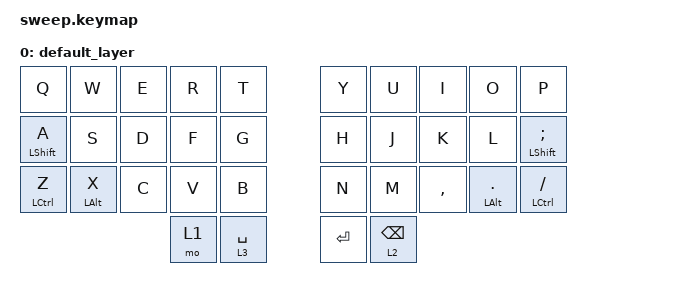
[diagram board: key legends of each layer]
/*
 * Copyright (c) 2020 The ZMK Contributors
 *
 * SPDX-License-Identifier: MIT
 */

#include <dt-bindings/zmk/mouse.h>
#include <behaviors.dtsi>
#include <dt-bindings/zmk/bt.h>
#include <dt-bindings/zmk/keys.h>

&mt {
    flavor = "tap-preferred";
    quick-tap-ms = <135>;
    tapping-term-ms = <150>;
};

/ {
    keymap {
        compatible = "zmk,keymap";

        default_layer {
            // -----------------------------------------------------------------------------------------
            // |  TAB |  Q  |  W  |  E  |  R  |  T  |   |  Y  |  U   |  I  |  O  |  P  | BKSP |
            // | SHFT |  A  |  S  |  D  |  F  |  G  |   |  H  |  J   |  K  |  L  |  ;  |  '   |
            // | CTRL |  Z  |  X  |  C  |  V  |  B  |   |  N  |  M   |  ,  |  .  |  /  | ESC  |
            //                    | GUI | LWR | SPC |   | ENT | RSE  | ALT |

            bindings = <
         &kp Q               &kp W           &kp E         &kp R  &kp T          &kp Y    &kp U            &kp I       &kp O                &kp P                    
         &mt LEFT_SHIFT A    &kp S           &kp D         &kp F  &kp G          &kp H    &kp J            &kp K       &kp L                &mt LEFT_SHIFT SEMICOLON  
         &mt LEFT_CONTROL Z  &mt LEFT_ALT X  &kp C         &kp V  &kp B          &kp N    &kp M            &kp COMMA   &mt LEFT_ALT PERIOD  &mt LCTRL SLASH           
                                      &mo 1  &lt 3 SPACE    &kp RET  &lt 2 BACKSPACE 
            >;
        };
    };

    conditional_layers {
        compatible = "zmk,conditional-layers";

        Tri {
            if-layers = <1 2>;
            then-layer = <4>;
        };
    };
};
